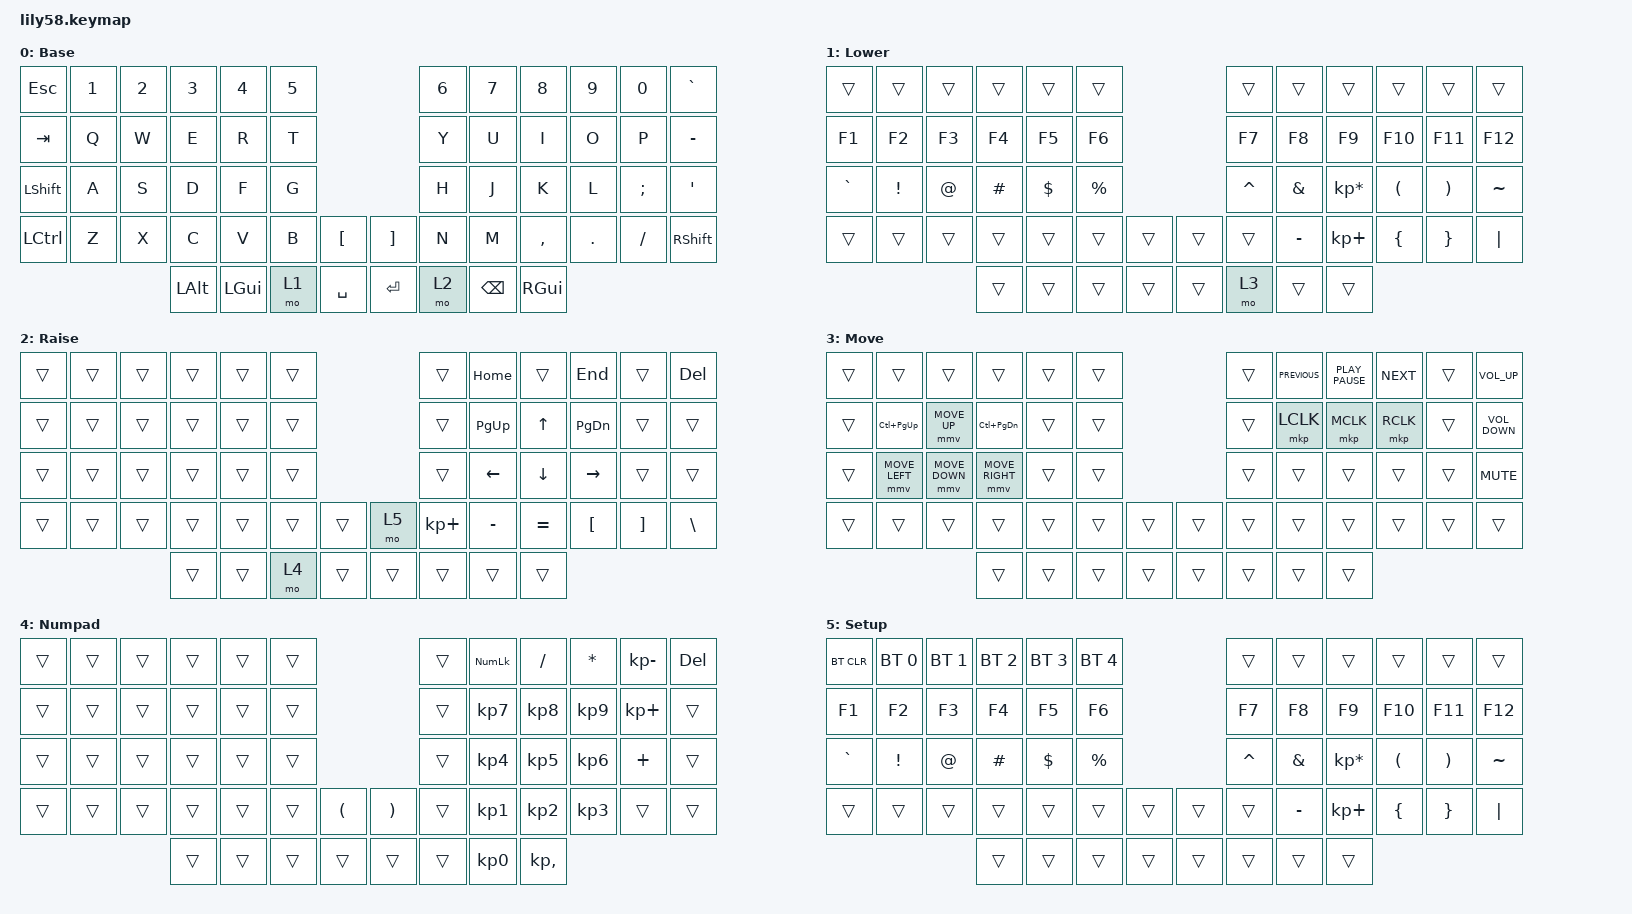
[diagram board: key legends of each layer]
/*
 * Copyright (c) 2020 The ZMK Contributors
 *
 * SPDX-License-Identifier: MIT
 */

#include <behaviors.dtsi>
#include <dt-bindings/zmk/bt.h>
#include <dt-bindings/zmk/keys.h>
#include <dt-bindings/zmk/pointing.h>
#include <dt-bindings/zmk/pointing.h>

/ {
    keymap {
        compatible = "zmk,keymap";

        default_layer {
            // ------------------------------------------------------------------------------------------------------------
            // |  ESC  |  1  |  2  |  3   |  4   |  5   |                   |  6   |  7    |  8    |  9   |   0   |   `   |
            // |  TAB  |  Q  |  W  |  E   |  R   |  T   |                   |  Y   |  U    |  I    |  O   |   P   |   -   |
            // |  CTRL |  A  |  S  |  D   |  F   |  G   |                   |  H   |  J    |  K    |  L   |   ;   |   '   |
            // | SHIFT |  Z  |  X  |  C   |  V   |  B   |   "["  |  |  "]"  |  N   |  M    |  ,    |  .   |   /   | SHIFT |
            //                     | ALT  | GUI  | LOWER|  SPACE |  | ENTER | RAISE| BSPC  | GUI   |

            display-name = "Base";
            bindings = <
&kp ESC           &kp N1  &kp N2  &kp N3    &kp N4    &kp N5                         &kp N6  &kp N7    &kp N8     &kp N9   &kp N0    &kp GRAVE
&kp TAB           &kp Q   &kp W   &kp E     &kp R     &kp T                          &kp Y   &kp U     &kp I      &kp O    &kp P     &kp MINUS
&kp LEFT_SHIFT    &kp A   &kp S   &kp D     &kp F     &kp G                          &kp H   &kp J     &kp K      &kp L    &kp SEMI  &kp SQT
&kp LEFT_CONTROL  &kp Z   &kp X   &kp C     &kp V     &kp B   &kp LBKT     &kp RBKT  &kp N   &kp M     &kp COMMA  &kp DOT  &kp FSLH  &kp RSHFT
                                  &kp LALT  &kp LGUI  &mo 1   &kp SPACE    &kp RET   &mo 2   &kp BSPC  &kp RGUI
            >;
        };

        lower_layer {
            // ------------------------------------------------------------------------------------------------------------
            // | BTCLR | BT1 | BT2 |  BT3 |  BT4 |  BT5 |                   |      |       |       |      |       |       |
            // |  F1   |  F2 |  F3 |  F4  |  F5  |  F6  |                   |  F7  |  F8   |  F9   |  F10 |  F11  |  F12  |
            // |   `   |  !  |  @  |  #   |  $   |  %   |                   |  ^   |  &    |  *    |  (   |   )   |   ~   |
            // |       |     |     |      |      |      |        |  |       |      |  _    |  +    |  {   |   }   |  "|"  |
            //                     |      |      |      |        |  |       |      |       |       |

            display-name = "Lower";
            bindings = <
&trans     &trans    &trans  &trans    &trans      &trans                       &trans     &trans     &trans           &trans    &trans    &trans
&kp F1     &kp F2    &kp F3  &kp F4    &kp F5      &kp F6                       &kp F7     &kp F8     &kp F9           &kp F10   &kp F11   &kp F12
&kp GRAVE  &kp EXCL  &kp AT  &kp HASH  &kp DOLLAR  &kp PRCNT                    &kp CARET  &kp AMPS   &kp KP_MULTIPLY  &kp LPAR  &kp RPAR  &kp TILDE
&trans     &trans    &trans  &trans    &trans      &trans     &trans    &trans  &trans     &kp MINUS  &kp KP_PLUS      &kp LBRC  &kp RBRC  &kp PIPE
                             &trans    &trans      &trans     &trans    &trans  &mo 3      &trans     &trans
            >;
        };

        raise_layer {
            // ------------------------------------------------------------------------------------------------------------
            // |       |     |     |      |      |      |                   |      |       |       |      |       |       |
            // |   `   |  1  |  2  |  3   |  4   |  5   |                   |  6   |   7   |   8   |  9   |   0   |       |
            // |   F1  |  F2 |  F3 |  F4  |  F5  |  F6  |                   |      |   <-  |   v   |  ^   |  ->   |       |
            // |   F7  |  F8 |  F9 |  F10 |  F11 |  F12 |        |  |       |  +   |   -   |   =   |  [   |   ]   |   \   |
            //                     |      |      |      |        |  |       |      |       |       |

            display-name = "Raise";
            bindings = <
&trans  &trans  &trans  &trans  &trans  &trans                    &trans       &kp HOME     &trans        &kp END        &trans    &kp DELETE
&trans  &trans  &trans  &trans  &trans  &trans                    &trans       &kp PAGE_UP  &kp UP_ARROW  &kp PAGE_DOWN  &trans    &trans
&trans  &trans  &trans  &trans  &trans  &trans                    &trans       &kp LEFT     &kp DOWN      &kp RIGHT      &trans    &trans
&trans  &trans  &trans  &trans  &trans  &trans  &trans    &mo 5   &kp KP_PLUS  &kp MINUS    &kp EQUAL     &kp LBKT       &kp RBKT  &kp BSLH
                        &trans  &trans  &mo 4   &trans    &trans  &trans       &trans       &trans
            >;
        };

        Move_3 {
            bindings = <
&trans  &trans          &trans          &trans             &trans  &trans                    &trans  &kp K_PREVIOUS  &kp K_PLAY_PAUSE  &kp K_NEXT  &trans  &kp C_VOLUME_UP
&trans  &kp LC(PG_UP)   &mmv MOVE_UP    &kp LC(PAGE_DOWN)  &trans  &trans                    &trans  &mkp LCLK       &mkp MCLK         &mkp RCLK   &trans  &kp C_VOLUME_DOWN
&trans  &mmv MOVE_LEFT  &mmv MOVE_DOWN  &mmv MOVE_RIGHT    &trans  &trans                    &trans  &trans          &trans            &trans      &trans  &kp K_MUTE
&trans  &trans          &trans          &trans             &trans  &trans  &trans    &trans  &trans  &trans          &trans            &trans      &trans  &trans
                                        &trans             &trans  &trans  &trans    &trans  &trans  &trans          &trans
            >;

            label = "Move";
        };

        Numpad_4 {
            bindings = <
&trans  &trans  &trans  &trans  &trans  &trans                                                 &trans  &kp KP_NUMLOCK   &kp SLASH        &kp ASTERISK     &kp KP_MINUS  &kp DELETE
&trans  &trans  &trans  &trans  &trans  &trans                                                 &trans  &kp KP_NUMBER_7  &kp KP_NUMBER_8  &kp KP_NUMBER_9  &kp KP_PLUS   &trans
&trans  &trans  &trans  &trans  &trans  &trans                                                 &trans  &kp KP_NUMBER_4  &kp KP_NUMBER_5  &kp KP_NUMBER_6  &kp PLUS      &trans
&trans  &trans  &trans  &trans  &trans  &trans  &kp LEFT_PARENTHESIS    &kp RIGHT_PARENTHESIS  &trans  &kp KP_NUMBER_1  &kp KP_NUMBER_2  &kp KP_NUMBER_3  &trans        &trans
                        &trans  &trans  &trans  &trans                  &trans                 &trans  &kp KP_NUMBER_0  &kp KP_COMMA
            >;

            label = "Numpad";
        };

        Setup_5 {
            display-name = "Setup";
            bindings = <
&bt BT_CLR  &bt BT_SEL 0  &bt BT_SEL 1  &bt BT_SEL 2  &bt BT_SEL 3  &bt BT_SEL 4                    &trans     &trans     &trans           &trans    &trans    &trans
&kp F1      &kp F2        &kp F3        &kp F4        &kp F5        &kp F6                          &kp F7     &kp F8     &kp F9           &kp F10   &kp F11   &kp F12
&kp GRAVE   &kp EXCL      &kp AT        &kp HASH      &kp DOLLAR    &kp PRCNT                       &kp CARET  &kp AMPS   &kp KP_MULTIPLY  &kp LPAR  &kp RPAR  &kp TILDE
&trans      &trans        &trans        &trans        &trans        &trans        &trans    &trans  &trans     &kp MINUS  &kp KP_PLUS      &kp LBRC  &kp RBRC  &kp PIPE
                                        &trans        &trans        &trans        &trans    &trans  &trans     &trans     &trans
            >;
        };
    };
};
